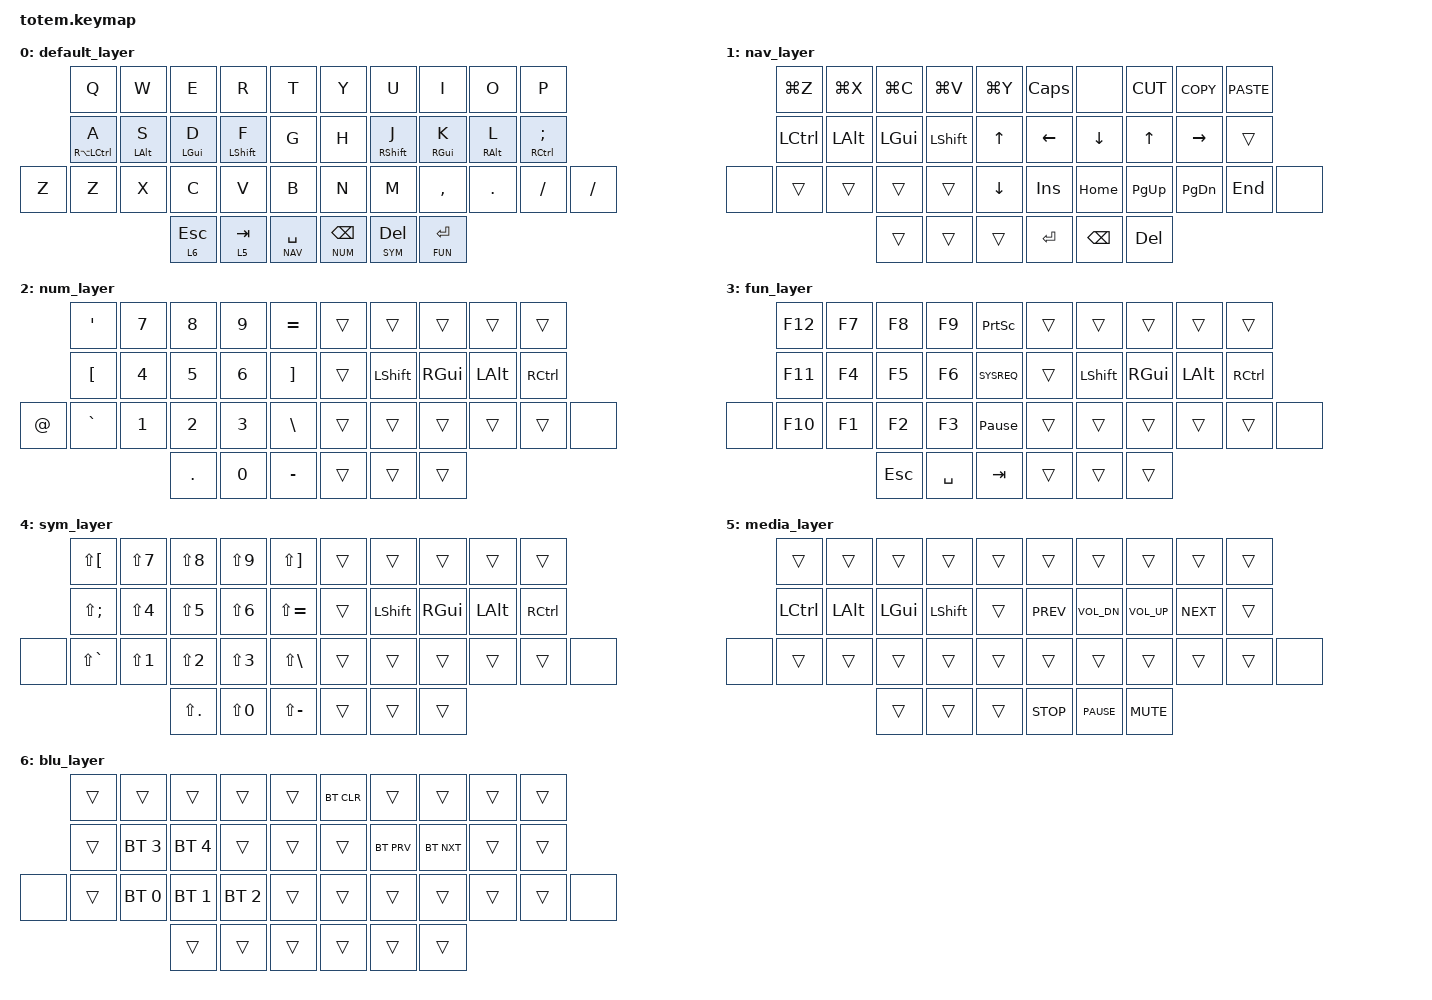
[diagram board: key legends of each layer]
#include <behaviors.dtsi>
#include <dt-bindings/zmk/bt.h>
#include <dt-bindings/zmk/keys.h>

#define BASE 0
#define NAV  1
#define NUM  2
#define FUN  3
#define SYM  4
#define MEDIA  5
#define BLU 6

&mt {
    quick-tap-ms = <100>;
    global-quick-tap;
    flavor = "tap-preferred";
    tapping-term-ms = <180>;
};

/*                KEY POSITIONS

          ╭────────────────────╮ ╭────────────────────╮
          │  0   1   2   3   4 │ │  5   6   7   8   9 │
          │ 10  11  12  13  14 │ │ 15  16  17  18  19 │
          │ 20  21  22  23  24 │ │ 25  26  27  28  29 │
          ╰───  30  31  32 33* │ │ 34* 35  36  37╭────╯
              ╰────────────────╯ ╰───────────────╯        */

/ {
    combos {
        compatible = "zmk,combos";

        leftParet {
            bindings = <&kp LEFT_PARENTHESIS>;
            key-positions = <6 7>;
            layers = <0>;
        };

        rightParet {
            bindings = <&kp RIGHT_PARENTHESIS>;
            key-positions = <7 8>;
            layers = <0>;
        };

        minusCombo {
            bindings = <&kp MINUS>;
            key-positions = <34 35>;
            layers = <0>;
        };

        capslock {
            bindings = <&caps_word>;
            key-positions = <4 5>;
            layers = <0>;
        };

        printscreen {
            bindings = <&kp LG(LS(N5))>;
            key-positions = <1 2 3>;
            layers = <0>;
            timeout-ms = <40>;
        };
    };

    behaviors {
        rht: repeatHoldTap {
            compatible = "zmk,behavior-hold-tap";
            label = "REPEATHOLDTAP";
            bindings = <&mo>, <&kp>;

            #binding-cells = <2>;
            flavor = "tap-preferred";
            tapping-term-ms = <150>;
            quick-tap-ms = <200>;
        };
    };

    keymap {
        compatible = "zmk,keymap";

        default_layer {
            //          ------------------------------------------------------------------------------------------------------------
            //          |  Q  |  W  |  E   |  R   |  T   |                                           |  Y   |  U    |  I    |  O   |   P   |
            //          |  A  |  S  |  D   |  F   |  G   |                                           |  H   |  J    |  K    |  L   |   '   |
            //          |  Z  |  X  |  C   |  V   |  B   |                                           |  N   |  M    |  ,    |  .   |   /   |
            //                      | ESC  | SPC |  TAB | BOOTLOADER |                         | MUTE | RET | BKSP | DEL |

            bindings = <
       &kp Q                   &kp W       &kp E       &kp R        &kp T             &kp Y          &kp U        &kp I        &kp O       &kp P
       &mt RA(LEFT_CONTROL) A  &mt LALT S  &mt LGUI D  &mt LSHFT F  &kp G             &kp H          &mt RSHFT J  &mt RGUI K   &mt RALT L  &mt RIGHT_CONTROL SEMICOLON
&kp Z  &kp Z                   &kp X       &kp C       &kp V        &kp B             &kp N          &kp M        &kp COMMA    &kp DOT     &kp SLASH                    &kp SLASH
                                           &lt 6 ESC   &lt 5 TAB    &rht NAV SPACE    &rht NUM BSPC  &lt SYM DEL  &lt FUN RET
            >;
        };

        nav_layer {
            bindings = <
       &kp LG(Z)         &kp LG(X)  &kp LG(C)     &kp LG(V)  &kp LG(Y)         &kp CAPSLOCK  &none     &kp K_CUT  &kp K_COPY  &kp K_PASTE
       &kp LEFT_CONTROL  &kp LALT   &kp LEFT_GUI  &kp LSHFT  &kp UP_ARROW      &kp LEFT      &kp DOWN  &kp UP     &kp RIGHT   &trans
&none  &trans            &trans     &trans        &trans     &kp DOWN_ARROW    &kp INSERT    &kp HOME  &kp PG_UP  &kp PG_DN   &kp END      &none
                                    &trans        &trans     &trans            &kp RET       &kp BKSP  &kp DEL
            >;
        };

        num_layer {
            bindings = <
        &kp APOSTROPHE    &kp N7  &kp N8      &kp N9  &kp EQUAL            &trans  &trans     &trans         &trans    &trans
        &kp LEFT_BRACKET  &kp N4  &kp N5      &kp N6  &kp RIGHT_BRACKET    &trans  &kp LSHFT  &kp RIGHT_GUI  &kp LALT  &kp RIGHT_CONTROL
&kp AT  &kp GRAVE         &kp N1  &kp N2      &kp N3  &kp BSLH             &trans  &trans     &trans         &trans    &trans             &none
                                  &kp PERIOD  &kp N0  &kp MINUS            &trans  &trans     &trans
            >;
        };

        fun_layer {
            bindings = <
       &kp F12  &kp F7  &kp F8   &kp F9     &kp PSCRN          &trans  &trans     &trans         &trans    &trans
       &kp F11  &kp F4  &kp F5   &kp F6     &kp SYSREQ         &trans  &kp LSHFT  &kp RIGHT_GUI  &kp LALT  &kp RIGHT_CONTROL
&none  &kp F10  &kp F1  &kp F2   &kp F3     &kp PAUSE_BREAK    &trans  &trans     &trans         &trans    &trans             &none
                        &kp ESC  &kp SPACE  &kp TAB            &trans  &trans     &trans
            >;
        };

        sym_layer {
            bindings = <
       &kp LS(LBKT)   &kp LS(N7)  &kp LS(N8)      &kp LS(N9)  &kp LS(RBKT)     &trans  &trans     &trans    &trans    &trans
       &kp LS(SEMI)   &kp LS(N4)  &kp LS(N5)      &kp LS(N6)  &kp LS(EQUAL)    &trans  &kp LSHFT  &kp RGUI  &kp LALT  &kp RIGHT_CONTROL
&none  &kp LS(GRAVE)  &kp LS(N1)  &kp LS(N2)      &kp LS(N3)  &kp LS(BSLH)     &trans  &trans     &trans    &trans    &trans             &none
                                  &kp LS(PERIOD)  &kp LS(N0)  &kp LS(MINUS)    &trans  &trans     &trans
            >;
        };

        media_layer {
            bindings = <
       &trans            &trans    &trans        &trans     &trans    &trans      &trans        &trans        &trans      &trans
       &kp LEFT_CONTROL  &kp LALT  &kp LEFT_GUI  &kp LSHFT  &trans    &kp C_PREV  &kp K_VOL_DN  &kp K_VOL_UP  &kp C_NEXT  &trans
&none  &trans            &trans    &trans        &trans     &trans    &trans      &trans        &trans        &trans      &trans  &none
                                   &trans        &trans     &trans    &kp C_STOP  &kp C_PAUSE   &kp K_MUTE
            >;
        };

        blu_layer {
            bindings = <
       &trans  &trans        &trans        &trans        &trans    &bt BT_CLR  &trans      &trans      &trans  &trans
       &trans  &bt BT_SEL 3  &bt BT_SEL 4  &trans        &trans    &trans      &bt BT_PRV  &bt BT_NXT  &trans  &trans
&none  &trans  &bt BT_SEL 0  &bt BT_SEL 1  &bt BT_SEL 2  &trans    &trans      &trans      &trans      &trans  &trans  &none
                             &trans        &trans        &trans    &trans      &trans      &trans
            >;
        };
    };
};
